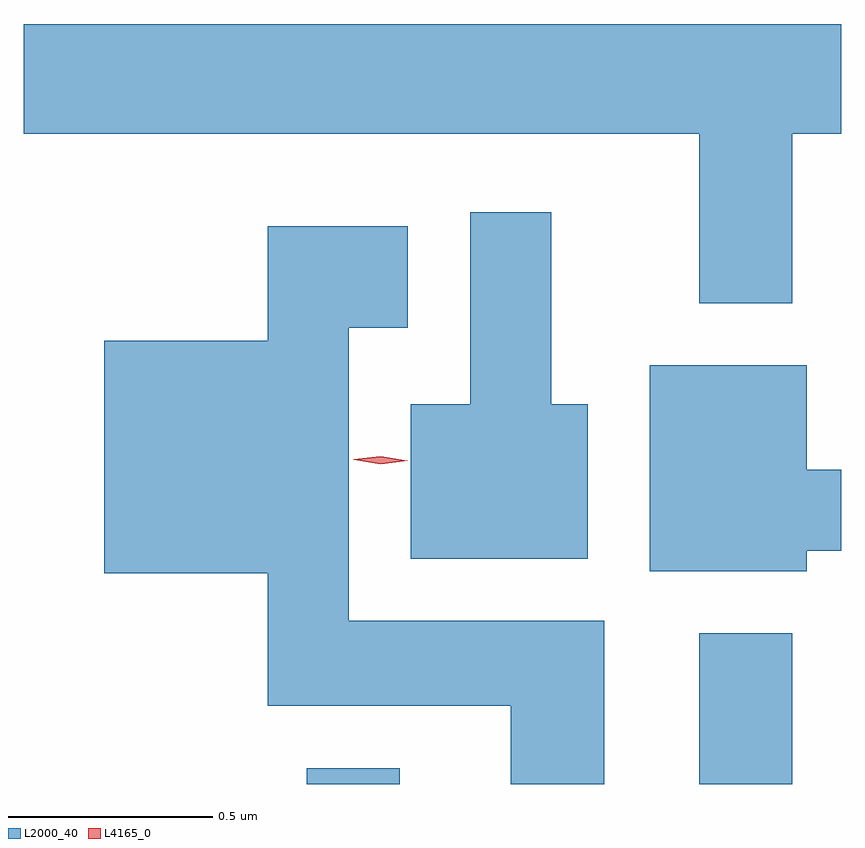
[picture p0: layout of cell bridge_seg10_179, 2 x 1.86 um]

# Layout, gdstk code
import gdstk
lib = gdstk.Library(unit=1e-6, precision=1e-09)
def R(c, l, rs):  # rectangles x0, y0, x1, y1
    for r in rs: c.add(gdstk.rectangle(r[:2], r[2:], *l))
def P(c, l, *ps):  # polygons
    for p in ps: c.add(gdstk.Polygon(p, *l))
L2000_40 = (2000, 40)
L4165_0 = (4165, 0)

bridge_seg10_179 = lib.new_cell('bridge_seg10_179')
R(bridge_seg10_179, L2000_40, [(1564.041,2083.465,1564.269,2083.504), (1565.001,2083.465,1565.229,2083.834)])
P(bridge_seg10_179, L2000_40, [(1565.229,2085.056),(1565.349,2085.056),(1565.349,2085.324),(1563.349,2085.324),(1563.349,2085.056),(1565.001,2085.056),(1565.001,2084.641),(1565.229,2084.641)],
  [(1564.729,2084.394),(1564.639,2084.394),(1564.639,2084.864),(1564.441,2084.864),(1564.441,2084.394),(1564.296,2084.394),(1564.296,2084.016),(1564.729,2084.016)],
  [(1564.769,2083.864),(1564.144,2083.864),(1564.144,2084.581),(1564.289,2084.581),(1564.289,2084.829),(1563.946,2084.829),(1563.946,2084.549),(1563.546,2084.549),(1563.546,2083.981),(1563.946,2083.981),(1563.946,2083.656),(1564.541,2083.656),(1564.541,2083.465),(1564.769,2083.465)],
  [(1565.264,2084.036),(1565.349,2084.036),(1565.349,2084.234),(1565.264,2084.234),(1565.264,2084.489),(1564.881,2084.489),(1564.881,2083.986),(1565.264,2083.986)])
P(bridge_seg10_179, L4165_0, [(1564.222,2084.247),(1564.156,2084.258),(1564.156,2084.258),(1564.156,2084.259),(1564.222,2084.267),(1564.288,2084.256),(1564.288,2084.256),(1564.288,2084.256)])

lib.write_gds('bridge_seg10_179.gds')
